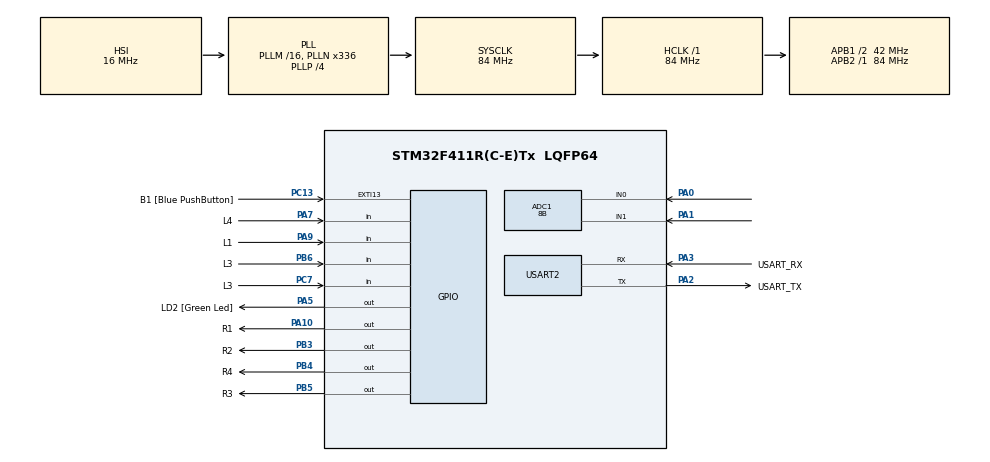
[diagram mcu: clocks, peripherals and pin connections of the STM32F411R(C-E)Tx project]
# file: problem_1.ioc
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ADC1.Channel-0\#ChannelRegularConversion=ADC_CHANNEL_0
ADC1.Channel-1\#ChannelRegularConversion=ADC_CHANNEL_1
ADC1.Channel-2\#ChannelRegularConversion=ADC_CHANNEL_TEMPSENSOR
ADC1.ContinuousConvMode=ENABLE
ADC1.DMAContinuousRequests=ENABLE
ADC1.EOCSelection=ADC_EOC_SEQ_CONV
ADC1.NbrOfConversion=3
ADC1.NbrOfConversionFlag=1
ADC1.Rank-0\#ChannelRegularConversion=1
ADC1.Rank-1\#ChannelRegularConversion=2
ADC1.Rank-2\#ChannelRegularConversion=3
ADC1.Resolution=ADC_RESOLUTION_8B
ADC1.SamplingTime-0\#ChannelRegularConversion=ADC_SAMPLETIME_84CYCLES
ADC1.SamplingTime-1\#ChannelRegularConversion=ADC_SAMPLETIME_84CYCLES
ADC1.SamplingTime-2\#ChannelRegularConversion=ADC_SAMPLETIME_84CYCLES
ADC1.master=1
Dma.ADC1.0.Direction=DMA_PERIPH_TO_MEMORY
Dma.ADC1.0.FIFOMode=DMA_FIFOMODE_DISABLE
Dma.ADC1.0.Instance=DMA2_Stream0
Dma.ADC1.0.MemDataAlignment=DMA_MDATAALIGN_HALFWORD
Dma.ADC1.0.MemInc=DMA_MINC_ENABLE
Dma.ADC1.0.Mode=DMA_NORMAL
Dma.ADC1.0.PeriphDataAlignment=DMA_PDATAALIGN_HALFWORD
Dma.ADC1.0.PeriphInc=DMA_PINC_DISABLE
Dma.ADC1.0.Priority=DMA_PRIORITY_LOW
Dma.Request0=ADC1
Mcu.Family=STM32F4
Mcu.Name=STM32F411R(C-E)Tx
Mcu.Package=LQFP64
NVIC.DMA2_Stream0_IRQn=true\:0\:0\:false\:false\:true\:false\:true\:true
NVIC.PriorityGroup=NVIC_PRIORITYGROUP_0
PA0-WKUP.Signal=ADCx_IN0
PA1.Signal=ADCx_IN1
PA10.GPIO_Label=R1
PA10.GPIO_ModeDefaultOutputPP=GPIO_MODE_OUTPUT_OD
PA10.GPIO_PuPd=GPIO_NOPULL
PA10.PinState=GPIO_PIN_SET
PA10.Signal=GPIO_Output
PA13.GPIO_Label=TMS
PA13.Mode=Serial_Wire
PA13.Signal=SYS_JTMS-SWDIO
PA14.GPIO_Label=TCK
PA14.Mode=Serial_Wire
PA14.Signal=SYS_JTCK-SWCLK
PA2.GPIO_Label=USART_TX
PA2.Mode=Asynchronous
PA2.Signal=USART2_TX
PA3.GPIO_Label=USART_RX
PA3.Mode=Asynchronous
PA3.Signal=USART2_RX
PA5.GPIO_Label=LD2 [Green Led]
PA5.Signal=GPIO_Output
PA7.GPIO_Label=L4
PA7.GPIO_PuPd=GPIO_PULLUP
PA7.Signal=GPIO_Input
PA9.GPIO_Label=L1
PA9.GPIO_PuPd=GPIO_PULLUP
PA9.Signal=GPIO_Input
PB3.GPIO_Label=R2
PB3.GPIO_ModeDefaultOutputPP=GPIO_MODE_OUTPUT_OD
PB3.GPIO_PuPd=GPIO_NOPULL
PB3.PinState=GPIO_PIN_SET
PB3.Signal=GPIO_Output
PB4.GPIO_Label=R4
PB4.GPIO_ModeDefaultOutputPP=GPIO_MODE_OUTPUT_OD
PB4.GPIO_PuPd=GPIO_NOPULL
PB4.PinState=GPIO_PIN_SET
PB4.Signal=GPIO_Output
PB5.GPIO_Label=R3
PB5.GPIO_ModeDefaultOutputPP=GPIO_MODE_OUTPUT_OD
PB5.GPIO_PuPd=GPIO_NOPULL
PB5.PinState=GPIO_PIN_SET
PB5.Signal=GPIO_Output
PB6.GPIO_Label=L3
PB6.GPIO_PuPd=GPIO_PULLUP
PB6.Signal=GPIO_Input
PC13-ANTI_TAMP.GPIO_Label=B1 [Blue PushButton]
PC13-ANTI_TAMP.GPIO_ModeDefaultEXTI=GPIO_MODE_IT_FALLING
PC13-ANTI_TAMP.Signal=GPXTI13
PC14-OSC32_IN.Mode=LSE-External-Oscillator
PC14-OSC32_IN.Signal=RCC_OSC32_IN
PC15-OSC32_OUT.Mode=LSE-External-Oscillator
PC15-OSC32_OUT.Signal=RCC_OSC32_OUT
PC7.GPIO_Label=L3
PC7.GPIO_PuPd=GPIO_PULLUP
PC7.Signal=GPIO_Input
PH0\ -\ OSC_IN.Mode=HSE-External-Clock-Source
PH0\ -\ OSC_IN.Signal=RCC_OSC_IN
PH1\ -\ OSC_OUT.Mode=HSE-External-Clock-Source
PH1\ -\ OSC_OUT.Signal=RCC_OSC_OUT
ProjectManager.HeapSize=0x200
ProjectManager.StackSize=0x400
ProjectManager.TargetToolchain=STM32CubeIDE
RCC.48MHZClocksFreq_Value=84000000
RCC.AHBFreq_Value=84000000
RCC.APB1CLKDivider=RCC_HCLK_DIV2
RCC.APB1Freq_Value=42000000
RCC.APB1TimFreq_Value=84000000
RCC.APB2Freq_Value=84000000
RCC.APB2TimFreq_Value=84000000
RCC.CortexFreq_Value=84000000
RCC.FLatency-AdvancedSettings=FLASH_LATENCY_2
RCC.HCLKFreq_Value=84000000
RCC.HSE_VALUE=8000000
RCC.HSI_VALUE=16000000
RCC.PLLN=336
RCC.PLLP=RCC_PLLP_DIV4
RCC.SYSCLKFreq_VALUE=84000000
RCC.SYSCLKSource=RCC_SYSCLKSOURCE_PLLCLK
RCC.VCOOutputFreq_Value=336000000
SH.ADCx_IN0.0=ADC1_IN0,IN0
SH.ADCx_IN1.0=ADC1_IN1,IN1
USART2.VirtualMode=VM_ASYNC
VP_ADC1_TempSens_Input.Mode=IN-TempSens
board=NUCLEO-F411RE

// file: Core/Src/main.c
/* USER CODE BEGIN Header */
/**
  ******************************************************************************
  * @file           : main.c
  * @brief          : Main program body
  ******************************************************************************
  * @attention
  *
  * Copyright (c) 2023 STMicroelectronics.
  * All rights reserved.
  *
  * This software is licensed under terms that can be found in the LICENSE file
  * in the root directory of this software component.
  * If no LICENSE file comes with this software, it is provided AS-IS.
  *
  ******************************************************************************
  */
/* USER CODE END Header */
#include "main.h"

ADC_HandleTypeDef hadc1;
DMA_HandleTypeDef hdma_adc1;

UART_HandleTypeDef huart2;

/* USER CODE BEGIN PV */
typedef struct _PortPin
{
	GPIO_TypeDef* PORT;
	uint16_t PIN;
} PortPin;
typedef struct {
	uint16_t IN0; // Rank 1
	uint16_t IN1; // rank 2
	uint16_t Temp;// rank3

}ADCDMABuffer;

ADCDMABuffer adcdmabuffer[10];
//declare PortPin R,L
PortPin R[4] =
{
		{GPIOA,GPIO_PIN_10},
		{GPIOB,GPIO_PIN_3},
		{GPIOB,GPIO_PIN_5},
		{GPIOB,GPIO_PIN_4}
};

PortPin L[4] =
{
		{GPIOA,GPIO_PIN_9},
		{GPIOC,GPIO_PIN_7},
		{GPIOB,GPIO_PIN_6},
		{GPIOA,GPIO_PIN_7}
};
uint16_t ButtonMatrix = 0;
uint16_t LastButton = 0;
uint16_t num = 0;
uint16_t avoltb = 0; // 1bit
uint16_t avolt = 0; // mV
uint16_t bvoltb = 0; // 1bit
uint16_t bvolt = 0; // mV
uint16_t tempb = 0 ; // bit
uint16_t temp = 0 ;  // c

/* USER CODE END PV */

void SystemClock_Config(void);
static void MX_GPIO_Init(void);
static void MX_DMA_Init(void);
static void MX_USART2_UART_Init(void);
static void MX_ADC1_Init(void);

int main(void)
{

  /* MCU Configuration--------------------------------------------------------*/

  /* Reset of all peripherals, Initializes the Flash interface and the Systick. */
  HAL_Init();

  /* Configure the system clock */
  SystemClock_Config();

  /* Initialize all configured peripherals */
  MX_GPIO_Init();
  MX_DMA_Init();
  MX_USART2_UART_Init();
  MX_ADC1_Init();

  /* Infinite loop */
  while (1)
  {

    /* USER CODE BEGIN 3 */
	  static uint32_t timestamp = 0;
	  		if (HAL_GetTick() >= timestamp) {
	  			timestamp = HAL_GetTick() + 10;
	  			callin_fnc();
	  			myfnc_mb();
	  		}
  }
  /* USER CODE END 3 */
}

void SystemClock_Config(void)
{
  RCC_OscInitTypeDef RCC_OscInitStruct = {0};
  RCC_ClkInitTypeDef RCC_ClkInitStruct = {0};

  /** Configure the main internal regulator output voltage
  */
  __HAL_RCC_PWR_CLK_ENABLE();
  __HAL_PWR_VOLTAGESCALING_CONFIG(PWR_REGULATOR_VOLTAGE_SCALE1);

  /** Initializes the RCC Oscillators according to the specified parameters
  * in the RCC_OscInitTypeDef structure.
  */
  RCC_OscInitStruct.OscillatorType = RCC_OSCILLATORTYPE_HSI;
  RCC_OscInitStruct.HSIState = RCC_HSI_ON;
  RCC_OscInitStruct.HSICalibrationValue = RCC_HSICALIBRATION_DEFAULT;
  RCC_OscInitStruct.PLL.PLLState = RCC_PLL_ON;
  RCC_OscInitStruct.PLL.PLLSource = RCC_PLLSOURCE_HSI;
  RCC_OscInitStruct.PLL.PLLM = 16;
  RCC_OscInitStruct.PLL.PLLN = 336;
  RCC_OscInitStruct.PLL.PLLP = RCC_PLLP_DIV4;
  RCC_OscInitStruct.PLL.PLLQ = 4;
  if (HAL_RCC_OscConfig(&RCC_OscInitStruct) != HAL_OK)
  {
    Error_Handler();
  }

  /** Initializes the CPU, AHB and APB buses clocks
  */
  RCC_ClkInitStruct.ClockType = RCC_CLOCKTYPE_HCLK|RCC_CLOCKTYPE_SYSCLK
                              |RCC_CLOCKTYPE_PCLK1|RCC_CLOCKTYPE_PCLK2;
  RCC_ClkInitStruct.SYSCLKSource = RCC_SYSCLKSOURCE_PLLCLK;
  RCC_ClkInitStruct.AHBCLKDivider = RCC_SYSCLK_DIV1;
  RCC_ClkInitStruct.APB1CLKDivider = RCC_HCLK_DIV2;
  RCC_ClkInitStruct.APB2CLKDivider = RCC_HCLK_DIV1;

  if (HAL_RCC_ClockConfig(&RCC_ClkInitStruct, FLASH_LATENCY_2) != HAL_OK)
  {
    Error_Handler();
  }
}

static void MX_ADC1_Init(void)
{

  ADC_ChannelConfTypeDef sConfig = {0};

  /** Configure the global features of the ADC (Clock, Resolution, Data Alignment and number of conversion)
  */
  hadc1.Instance = ADC1;
  hadc1.Init.ClockPrescaler = ADC_CLOCK_SYNC_PCLK_DIV4;
  hadc1.Init.Resolution = ADC_RESOLUTION_8B;
  hadc1.Init.ScanConvMode = ENABLE;
  hadc1.Init.ContinuousConvMode = ENABLE;
  hadc1.Init.DiscontinuousConvMode = DISABLE;
  hadc1.Init.ExternalTrigConvEdge = ADC_EXTERNALTRIGCONVEDGE_NONE;
  hadc1.Init.ExternalTrigConv = ADC_SOFTWARE_START;
  hadc1.Init.DataAlign = ADC_DATAALIGN_RIGHT;
  hadc1.Init.NbrOfConversion = 3;
  hadc1.Init.DMAContinuousRequests = ENABLE;
  hadc1.Init.EOCSelection = ADC_EOC_SEQ_CONV;
  if (HAL_ADC_Init(&hadc1) != HAL_OK)
  {
    Error_Handler();
  }

  /** Configure for the selected ADC regular channel its corresponding rank in the sequencer and its sample time.
  */
  sConfig.Channel = ADC_CHANNEL_0;
  sConfig.Rank = 1;
  sConfig.SamplingTime = ADC_SAMPLETIME_84CYCLES;
  if (HAL_ADC_ConfigChannel(&hadc1, &sConfig) != HAL_OK)
  {
    Error_Handler();
  }

  /** Configure for the selected ADC regular channel its corresponding rank in the sequencer and its sample time.
  */
  sConfig.Channel = ADC_CHANNEL_1;
  sConfig.Rank = 2;
  if (HAL_ADC_ConfigChannel(&hadc1, &sConfig) != HAL_OK)
  {
    Error_Handler();
  }

  /** Configure for the selected ADC regular channel its corresponding rank in the sequencer and its sample time.
  */
  sConfig.Channel = ADC_CHANNEL_TEMPSENSOR;
  sConfig.Rank = 3;
  if (HAL_ADC_ConfigChannel(&hadc1, &sConfig) != HAL_OK)
  {
    Error_Handler();
  }

}

static void MX_USART2_UART_Init(void)
{

  huart2.Instance = USART2;
  huart2.Init.BaudRate = 115200;
  huart2.Init.WordLength = UART_WORDLENGTH_8B;
  huart2.Init.StopBits = UART_STOPBITS_1;
  huart2.Init.Parity = UART_PARITY_NONE;
  huart2.Init.Mode = UART_MODE_TX_RX;
  huart2.Init.HwFlowCtl = UART_HWCONTROL_NONE;
  huart2.Init.OverSampling = UART_OVERSAMPLING_16;
  if (HAL_UART_Init(&huart2) != HAL_OK)
  {
    Error_Handler();
  }

}

static void MX_DMA_Init(void)
{

  /* DMA controller clock enable */
  __HAL_RCC_DMA2_CLK_ENABLE();

  /* DMA interrupt init */
  /* DMA2_Stream0_IRQn interrupt configuration */
  HAL_NVIC_SetPriority(DMA2_Stream0_IRQn, 0, 0);
  HAL_NVIC_EnableIRQ(DMA2_Stream0_IRQn);

}

static void MX_GPIO_Init(void)
{
  GPIO_InitTypeDef GPIO_InitStruct = {0};

  /* GPIO Ports Clock Enable */
  __HAL_RCC_GPIOC_CLK_ENABLE();
  __HAL_RCC_GPIOH_CLK_ENABLE();
  __HAL_RCC_GPIOA_CLK_ENABLE();
  __HAL_RCC_GPIOB_CLK_ENABLE();

  /*Configure GPIO pin Output Level */
  HAL_GPIO_WritePin(LD2_GPIO_Port, LD2_Pin, GPIO_PIN_RESET);

  /*Configure GPIO pin Output Level */
  HAL_GPIO_WritePin(R1_GPIO_Port, R1_Pin, GPIO_PIN_SET);

  /*Configure GPIO pin Output Level */
  HAL_GPIO_WritePin(GPIOB, R2_Pin|R4_Pin|R3_Pin, GPIO_PIN_SET);

  /*Configure GPIO pin : B1_Pin */
  GPIO_InitStruct.Pin = B1_Pin;
  GPIO_InitStruct.Mode = GPIO_MODE_IT_FALLING;
  GPIO_InitStruct.Pull = GPIO_NOPULL;
  HAL_GPIO_Init(B1_GPIO_Port, &GPIO_InitStruct);

  /*Configure GPIO pin : LD2_Pin */
  GPIO_InitStruct.Pin = LD2_Pin;
  GPIO_InitStruct.Mode = GPIO_MODE_OUTPUT_PP;
  GPIO_InitStruct.Pull = GPIO_NOPULL;
  GPIO_InitStruct.Speed = GPIO_SPEED_FREQ_LOW;
  HAL_GPIO_Init(LD2_GPIO_Port, &GPIO_InitStruct);

  /*Configure GPIO pins : L4_Pin L1_Pin */
  GPIO_InitStruct.Pin = L4_Pin|L1_Pin;
  GPIO_InitStruct.Mode = GPIO_MODE_INPUT;
  GPIO_InitStruct.Pull = GPIO_PULLUP;
  HAL_GPIO_Init(GPIOA, &GPIO_InitStruct);

  /*Configure GPIO pin : L3_Pin */
  GPIO_InitStruct.Pin = L3_Pin;
  GPIO_InitStruct.Mode = GPIO_MODE_INPUT;
  GPIO_InitStruct.Pull = GPIO_PULLUP;
  HAL_GPIO_Init(L3_GPIO_Port, &GPIO_InitStruct);

  /*Configure GPIO pin : R1_Pin */
  GPIO_InitStruct.Pin = R1_Pin;
  GPIO_InitStruct.Mode = GPIO_MODE_OUTPUT_OD;
  GPIO_InitStruct.Pull = GPIO_NOPULL;
  GPIO_InitStruct.Speed = GPIO_SPEED_FREQ_LOW;
  HAL_GPIO_Init(R1_GPIO_Port, &GPIO_InitStruct);

  /*Configure GPIO pins : R2_Pin R4_Pin R3_Pin */
  GPIO_InitStruct.Pin = R2_Pin|R4_Pin|R3_Pin;
  GPIO_InitStruct.Mode = GPIO_MODE_OUTPUT_OD;
  GPIO_InitStruct.Pull = GPIO_NOPULL;
  GPIO_InitStruct.Speed = GPIO_SPEED_FREQ_LOW;
  HAL_GPIO_Init(GPIOB, &GPIO_InitStruct);

  /*Configure GPIO pin : L3B6_Pin */
  GPIO_InitStruct.Pin = L3B6_Pin;
  GPIO_InitStruct.Mode = GPIO_MODE_INPUT;
  GPIO_InitStruct.Pull = GPIO_PULLUP;
  HAL_GPIO_Init(L3B6_GPIO_Port, &GPIO_InitStruct);

}

/* USER CODE BEGIN 4 */

void myfnc_mb(){
	static uint8_t X = 0;
		//READ L1-L4
		register int i;
		for (i = 0; i < 4; i++) {
			if (HAL_GPIO_ReadPin(L[i].PORT, L[i].PIN))
			{
				ButtonMatrix &= ~(1 << (X * 4 + i));

			}
			else
			{
				ButtonMatrix |= 1 << (X * 4 + i);

			}

		}
		//SET RX
		HAL_GPIO_WritePin(R[X].PORT, R[X].PIN, 1);
		//RESET RX+1%4
		HAL_GPIO_WritePin(R[(X + 1) % 4].PORT, R[(X + 1) % 4].PIN, 0);
		X++;
		X %= 4; // it is mod. eg. 4 %= 4 = 1 เศษ 0 ----> x = 0
	if (LastButton == 0 && ButtonMatrix > 0)
		  					{
		  						 if (ButtonMatrix == 4) // 1
		  						{

		  						}

		  						else if (ButtonMatrix == 64) // 2
		  						{

		  						}

		  						else if (ButtonMatrix == 1024) // 3
		  						{

		  						}

		  						else if (ButtonMatrix == 2) // 4
		  						{

		  						}

		  						else if (ButtonMatrix == 32) // 5
		  						{

		  						}

		  						else if (ButtonMatrix == 512) // 6
		  						{

		  						}

		  						else if (ButtonMatrix == 1) // 7
		  						{

		  						}

		  						else if (ButtonMatrix == 16 ) // 8
		  						{

		  						}
		  						else if (ButtonMatrix == 256) // 9
		  						{

		  						}

		  						//LastButton = Button ;

		  						if (ButtonMatrix == 4096) // clear
		  							{

		  							}

		  						if (ButtonMatrix == 32768)
		  							{
		  							}
		  					}

		  					LastButton = ButtonMatrix;

		  	  }

void callin_fnc(){
	void func(){
	avoltb = 0 ;
	bvoltb = 0 ;//set start
	tempb = 0 ; //set start

	for (int i = 0; i < 100; i++)
		{
			avoltb += adcdmabuffer[i].IN0 ;
			bvoltb += adcdmabuffer[i].IN0 ;
			tempb += adcdmabuffer[i].Temp ;

			if (i == 99)
			{
				avoltb = avoltb / 100 ; // find Avg Vin
				bvoltb = bvoltb / 100 ; // find Avg Vin
				tempb= tempb / 100 ; // find Avg Temp
			}
		}
			avolt = (( avoltb * 3.3 * 1000) / 4096 )* 2;  //find Vin * 2 because voltage div
			bvolt = (( bvoltb * 3.3 * 1000) / 4096 )* 2;
			temp = (((((tempb * 3.3)/ 4096)*1000)- 760)/ 2.5) + 25 + 273.15;
	}
}
/* USER CODE END 4 */

void Error_Handler(void)
{
  __disable_irq();
  while (1)
  {
  }
}
